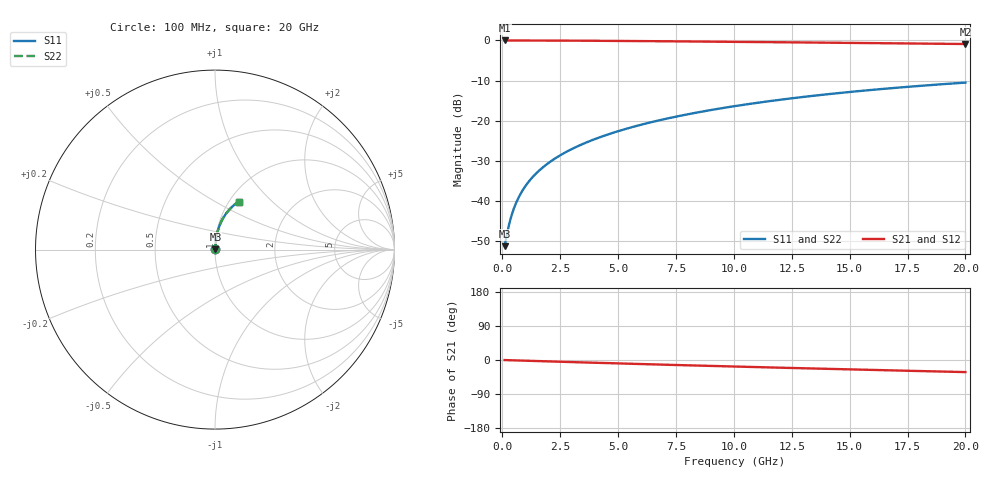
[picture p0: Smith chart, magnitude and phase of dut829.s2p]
! Touchstone file exported from HFSS 2024.1.0
!  File:  C:/UserFiles/LocalFiles/RDL_TSV_Batchsim/temp_RDL_bottom_829_1779863159.aedt
!  Generated:  02:28:21 PM May 27, 2026
!  Design:  RDL_bottom
!  Project:  temp_RDL_bottom_829_1779863159
!  Setup:  Setup1
!  Solution:  Sweep
! Variables:
!  dtsv = 10.80580581um
!  hbump = 3um
!  htsv = 89um
!  ldown = 469.68um
!  lrdl = 100um
!  p = 40
!  p1 = 40.42um
!  rhole = 1um
!  t = 450um
!  tdown = 4.47um
!  trdl = 3.915915916um
!  wdown = 18.01um
!  wrdl = 20um
# GHz S MA R 50.000000
! Terminal data exported
! Port[1] = RDL1_T1
! Port[2] = RDL1_T2
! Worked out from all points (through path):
!   200 points, 100 MHz to 20 GHz, reference 50 ohm
!   highest |S21| = -0.02 dB at 100 MHz (marker M1); lowest = -0.9 dB at 20 GHz (marker M2)
!   group delay of S21, straight-line fit = 4.4 ps
!   lowest |S11| = -51.3 dB at 100 MHz (marker M3), VSWR 1.01, Z = 50.2 + j0.162 ohm
!   |S11| at or under -10 dB: start of sweep to end of sweep
!   |S22| runs from -51.3 to -10.5 dB; largest |S21 - S12| = 4.1e-15
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0.1  0.002736 36.0  0.9978 -0.2  0.9978 -0.2  0.002736 36.0
! Gamma 0 0 0 0
! Port Impedance 50 0 50 0
0.2  0.003864 55.6  0.9977 -0.4  0.9977 -0.4  0.003862 55.6
0.3  0.005202 65.3  0.9975 -0.6  0.9975 -0.6  0.005199 65.3
0.4  0.006615 70.7  0.9974 -0.8  0.9974 -0.8  0.00661 70.7
0.5  0.008058 74.0  0.9973 -0.9  0.9973 -0.9  0.008053 74.0
0.6  0.009514 76.2  0.9972 -1.1  0.9972 -1.1  0.009509 76.2
0.8  0.01244 78.8  0.9969 -1.5  0.9969 -1.5  0.01243 78.8
1.1  0.01681 80.8  0.9966 -2.0  0.9966 -2.0  0.0168 80.8
1.5  0.0226 82.1  0.9959 -2.8  0.9959 -2.8  0.02259 82.1
1.8  0.02692 82.7  0.9954 -3.3  0.9954 -3.3  0.02692 82.7
2.1  0.03125 83.1  0.9947 -3.9  0.9947 -3.9  0.03125 83.1
2.7  0.03994 83.5  0.9931 -5.0  0.9931 -5.0  0.03994 83.6
3.5  0.05163 83.7  0.9906 -6.4  0.9906 -6.4  0.05163 83.7
4.2  0.06199 83.5  0.988 -7.6  0.988 -7.6  0.06199 83.6
5  0.07397 83.2  0.9846 -9.0  0.9846 -9.0  0.07397 83.2
5.9  0.08761 82.6  0.9805 -10.6  0.9805 -10.6  0.08762 82.6
6.8  0.1014 81.8  0.9761 -12.1  0.9761 -12.1  0.1014 81.8
8.4  0.1262 80.1  0.9678 -14.7  0.9678 -14.7  0.1262 80.1
10.1  0.1528 78.0  0.9586 -17.4  0.9586 -17.4  0.1528 78.0
13.4  0.2037 73.5  0.94 -22.4  0.94 -22.4  0.2037 73.5
16.7  0.2525 68.7  0.9208 -27.3  0.9208 -27.3  0.2525 68.7
20  0.298 63.9  0.9013 -31.9  0.9013 -31.9  0.2981 63.9
